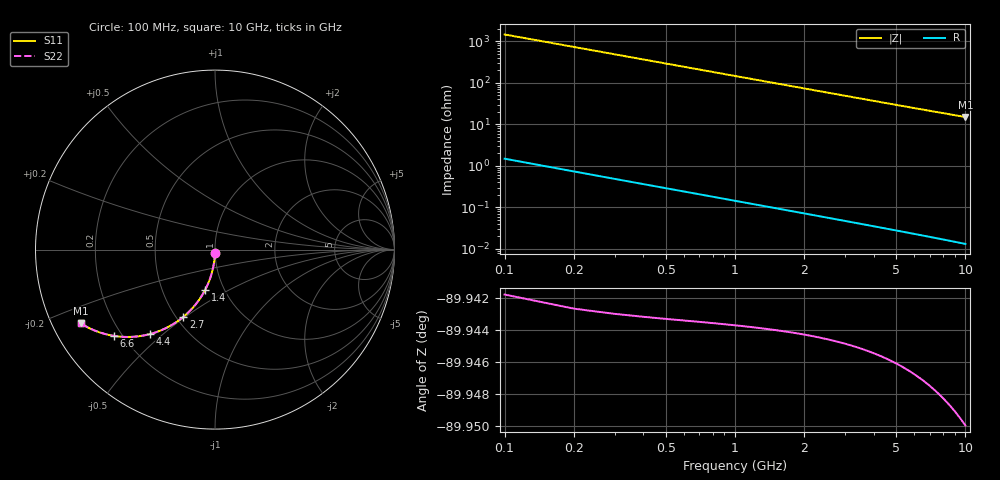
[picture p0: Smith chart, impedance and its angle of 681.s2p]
# Hz S RI R 50.00
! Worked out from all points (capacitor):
!   100 points, 100 MHz to 10 GHz, reference 50 ohm
!   read as one part in shunt: C = 1.09 pF near 100 MHz
!   lowest |Z| = 15 ohm at 10 GHz (marker M1)
!   S11 on the Smith chart (normalised r, x): 100 MHz: 1.00, -0.03; 1.4 GHz: 0.82, -0.38; 2.7 GHz: 0.54, -0.49; 4.4 GHz: 0.31, -0.45; 6.6 GHz: 0.17, -0.36; 10 GHz: 0.08, -0.25
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1e8  -0.000243 -0.0169  0.9996 -0.0173  0.9996 -0.0173  -0.000243 -0.0169
2e8  -0.00113 -0.0337  0.9987 -0.0346  0.9987 -0.0346  -0.00113 -0.0337
3e8  -0.00261 -0.0505  0.9973 -0.0518  0.9973 -0.0518  -0.00261 -0.0505
4e8  -0.00465 -0.0672  0.9952 -0.0689  0.9952 -0.0689  -0.00465 -0.0672
5e8  -0.00726 -0.0837  0.9926 -0.0859  0.9926 -0.0859  -0.00726 -0.0837
6e8  -0.0104 -0.1002  0.9894 -0.1028  0.9894 -0.1028  -0.0104 -0.1002
7e8  -0.0142 -0.1164  0.9857 -0.1195  0.9857 -0.1195  -0.0142 -0.1164
9e8  -0.0232 -0.1483  0.9767 -0.1522  0.9767 -0.1522  -0.0232 -0.1483
1.1e9  -0.0342 -0.1791  0.9656 -0.184  0.9656 -0.184  -0.0342 -0.1791
1.4e9  -0.0543 -0.2232  0.9455 -0.2293  0.9455 -0.2293  -0.0543 -0.2232
1.8e9  -0.0867 -0.277  0.9132 -0.2849  0.9132 -0.2849  -0.0867 -0.277
2.2e9  -0.1241 -0.3245  0.8757 -0.3342  0.8757 -0.3342  -0.1241 -0.3245
2.7e9  -0.1759 -0.3744  0.8239 -0.3863  0.8239 -0.3863  -0.1759 -0.3744
3.4e9  -0.253 -0.4268  0.7467 -0.4418  0.7467 -0.4418  -0.253 -0.4268
4.4e9  -0.3622 -0.4705  0.6375 -0.4899  0.6375 -0.4899  -0.3622 -0.4705
5.1e9  -0.433 -0.4837  0.5666 -0.5063  0.5666 -0.5063  -0.433 -0.4837
5.8e9  -0.4973 -0.4866  0.5022 -0.5124  0.5022 -0.5124  -0.4973 -0.4866
6.6e9  -0.562 -0.4809  0.4374 -0.5103  0.4374 -0.5103  -0.562 -0.4809
6.7e9  -0.5695 -0.4797  0.4299 -0.5095  0.4299 -0.5095  -0.5695 -0.4797
7.5e9  -0.6242 -0.4669  0.3751 -0.5005  0.3751 -0.5005  -0.6242 -0.4669
8.4e9  -0.6763 -0.4483  0.3229 -0.4861  0.3229 -0.4861  -0.6763 -0.4483
1e10  -0.7485 -0.4103  0.2503 -0.4557  0.2503 -0.4557  -0.7485 -0.4103
